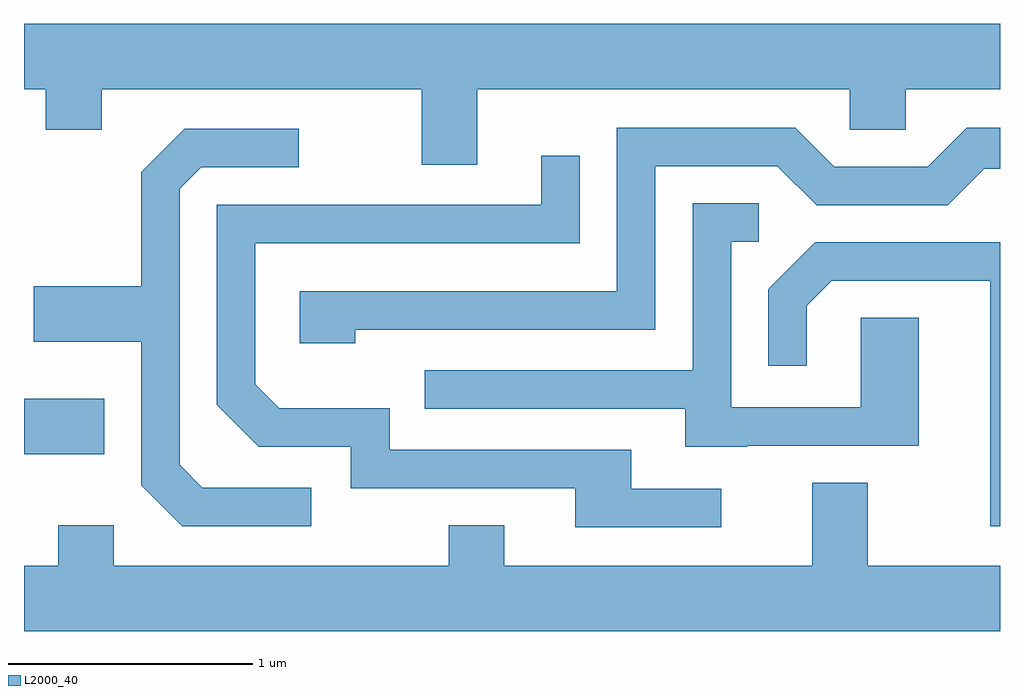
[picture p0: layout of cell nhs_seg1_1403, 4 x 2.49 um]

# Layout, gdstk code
import gdstk
lib = gdstk.Library(unit=1e-6, precision=1e-09)
def R(c, l, rs):  # rectangles x0, y0, x1, y1
    for r in rs: c.add(gdstk.rectangle(r[:2], r[2:], *l))
def P(c, l, *ps):  # polygons
    for p in ps: c.add(gdstk.Polygon(p, *l))
L2000_40 = (2000, 40)

nhs_seg1_1403 = lib.new_cell('nhs_seg1_1403')
R(nhs_seg1_1403, L2000_40, [(227.611,953.581,227.939,953.809)])
P(nhs_seg1_1403, L2000_40, [(229.469,955.076),(230.996,955.076),(230.996,954.911),(231.224,954.911),(231.224,955.076),(231.611,955.076),(231.611,955.344),(227.611,955.344),(227.611,955.076),(227.701,955.076),(227.701,954.911),(227.929,954.911),(227.929,955.076),(229.241,955.076),(229.241,954.766),(229.469,954.766)],
  [(228.969,954.091),(230.199,954.091),(230.199,954.761),(230.699,954.761),(230.859,954.601),(231.397,954.601),(231.547,954.751),(231.611,954.751),(231.611,954.919),(231.474,954.919),(231.314,954.759),(230.932,954.759),(230.772,954.919),(230.041,954.919),(230.041,954.249),(228.741,954.249),(228.741,954.036),(228.969,954.036)],
  [(228.788,953.444),(228.342,953.444),(228.249,953.537),(228.249,954.669),(228.337,954.756),(228.738,954.756),(228.738,954.914),(228.269,954.914),(228.091,954.737),(228.091,954.269),(227.651,954.269),(227.651,954.041),(228.091,954.041),(228.091,953.454),(228.259,953.286),(228.788,953.286)],
  [(230.468,953.439),(230.099,953.439),(230.099,953.599),(229.109,953.599),(229.109,953.769),(228.657,953.769),(228.559,953.867),(228.559,954.446),(229.889,954.446),(229.889,954.803),(229.731,954.803),(229.731,954.604),(228.401,954.604),(228.401,953.784),(228.574,953.611),(228.951,953.611),(228.951,953.441),(229.871,953.441),(229.871,953.281),(230.468,953.281)],
  [(230.575,953.616),(231.279,953.616),(231.279,954.139),(231.041,954.139),(231.041,953.774),(230.509,953.774),(230.509,954.451),(230.623,954.451),(230.623,954.609),(230.351,954.609),(230.351,953.924),(229.253,953.924),(229.253,953.766),(230.321,953.766),(230.321,953.611),(230.575,953.611)],
  [(231.611,954.449),(230.854,954.449),(230.661,954.257),(230.661,953.943),(230.819,953.943),(230.819,954.189),(230.922,954.291),(231.571,954.291),(231.571,953.286),(231.611,953.286)],
  [(231.611,953.124),(231.069,953.124),(231.069,953.464),(230.841,953.464),(230.841,953.124),(229.579,953.124),(229.579,953.289),(229.351,953.289),(229.351,953.124),(227.979,953.124),(227.979,953.289),(227.751,953.289),(227.751,953.124),(227.611,953.124),(227.611,952.856),(231.611,952.856)])

lib.write_gds('nhs_seg1_1403.gds')
